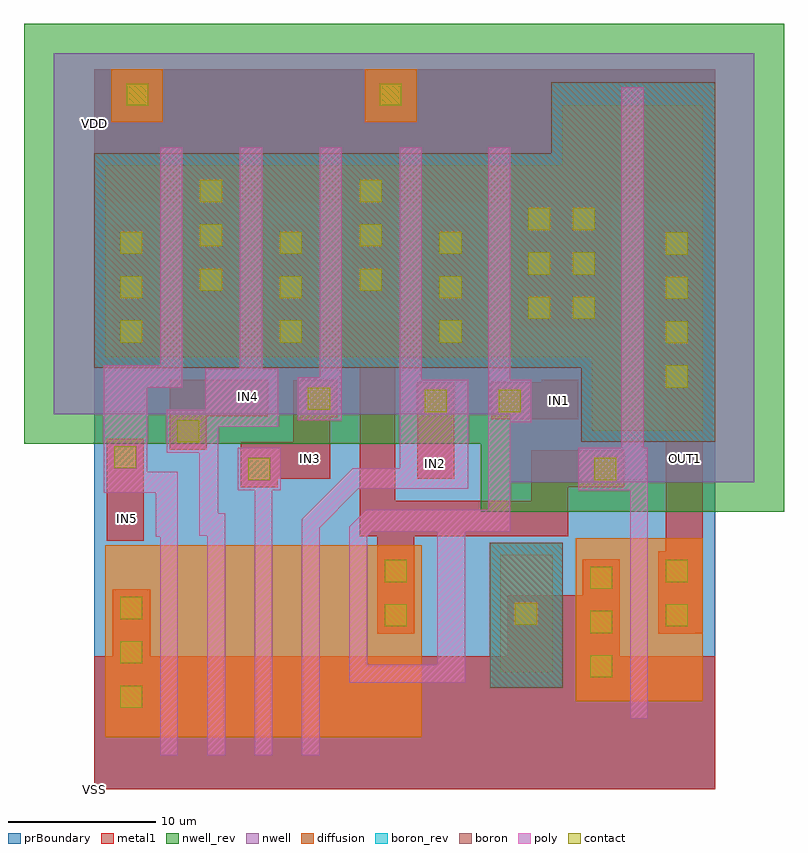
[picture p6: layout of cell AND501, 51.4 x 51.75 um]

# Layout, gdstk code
import gdstk
lib = gdstk.Library(unit=1e-6, precision=1e-09)
def R(c, l, rs):  # rectangles x0, y0, x1, y1
    for r in rs: c.add(gdstk.rectangle(r[:2], r[2:], *l))
def A(c, l, x, y, w, h, nx, ny, dx, dy):  # array of equal rectangles
    R(c, l, [(x+i*dx, y+j*dy, x+i*dx+w, y+j*dy+h) for i in range(nx) for j in range(ny)])
def P(c, l, *ps):  # polygons
    for p in ps: c.add(gdstk.Polygon(p, *l))
nwell = (1, 0)
diffusion = (2, 0)
nwell_rev = (3, 0)
poly = (4, 0)
boron = (5, 0)
boron_rev = (6, 0)
contact = (7, 0)
metal1 = (8, 0)
prBoundary = (28, 0)

and501 = lib.new_cell('AND501')
P(and501, nwell, [(28.15,20.75),(28.15,25.35),(-2.75,25.35),(-2.75,49.75),(44.65,49.75),(44.65,20.75)])
R(and501, diffusion, [(0.75,3.5,22.15,16.5), (32.55,5.95,41.15,16.95), (27.45,7.9,31,15.85), (1.15,45.1,4.65,48.7), (18.3,45.1,21.8,48.7)])
P(and501, diffusion, [(33.65,24.25),(33.65,29.2),(0.75,29.2),(0.75,42.2),(31.65,42.2),(31.65,46.25),(41.15,46.25),(41.15,24.25)])
P(and501, nwell_rev, [(26.15,18.75),(26.15,23.35),(-4.75,23.35),(-4.75,51.75),(46.65,51.75),(46.65,18.75)])
P(and501, poly, [(14.05,2.3),(14.05,18.25),(17.5,21.7),(20.65,21.7),(20.65,43.4),(22.15,43.4),(22.15,27.7),(25.3,27.7),(25.3,20.3),(17.868,20.3),(15.25,17.682),(15.25,2.3)],
  [(17.25,7.2),(17.25,17.75),(18.4,18.9),(23.2,18.9),(23.2,17.4),(18.748,17.4),(18.45,17.102),(18.45,8.4),(23.2,8.4),(23.2,18.9),(26.65,18.9),(26.65,43.4),(28.15,43.4),(28.15,27.7),(29.55,27.7),(29.55,24.8),(28.15,24.8),(28.15,17.4),(25.1,17.4),(25.1,7.2)],
  [(4.45,2.3),(4.45,17.05),(4.15,17.05),(4.15,20.05),(0.65,20.05),(0.65,28.65),(4.45,28.65),(4.45,43.4),(5.95,43.4),(5.95,27.15),(3.6,27.15),(3.6,21.45),(5.65,21.45),(5.65,2.3)],
  [(7.65,2.3),(7.65,17.15),(7.1,17.15),(7.1,22.75),(4.9,22.75),(4.9,25.65),(7.5,25.65),(7.5,28.45),(9.85,28.45),(9.85,43.4),(11.35,43.4),(11.35,28.45),(12.45,28.45),(12.45,24.5),(8.4,24.5),(8.4,18.65),(8.85,18.65),(8.85,2.3)],
  [(10.85,2.3),(10.85,20.2),(9.7,20.2),(9.7,23.1),(12.6,23.1),(12.6,20.2),(12.05,20.2),(12.05,2.3)],
  [(13.75,24.95),(13.75,27.85),(15.25,27.85),(15.25,43.4),(16.75,43.4),(16.75,24.95)],
  [(36.25,4.75),(36.25,20.2),(32.75,20.2),(32.75,23.1),(35.65,23.1),(35.65,47.45),(37.15,47.45),(37.15,23.1),(37.45,23.1),(37.45,4.75)])
R(and501, boron, [(26.75,6.85,31.7,16.65)])
P(and501, boron, [(32.95,23.5),(32.95,28.5),(0,28.5),(0,43),(30.9,43),(30.9,47.8),(42,47.8),(42,23.5)])
R(and501, boron_rev, [(26.75,6.85,31.7,16.65)])
P(and501, boron_rev, [(32.95,23.5),(32.95,28.5),(0,28.5),(0,43),(30.9,43),(30.9,47.8),(42,47.8),(42,23.5)])
A(and501, contact, 1.75, 5.5, 1.5, 1.5, 1, 3, 0, 3)
A(and501, contact, 33.55, 7.55, 1.5, 1.5, 1, 3, 0, 3)
A(and501, contact, 38.65, 27.15, 1.5, 1.5, 1, 4, 0, 3)
A(and501, contact, 1.75, 30.2, 1.5, 1.5, 3, 3, 10.8, 3)
A(and501, contact, 29.35, 31.8, 1.5, 1.5, 1, 3, 0, 3)
A(and501, contact, 32.35, 31.8, 1.5, 1.5, 1, 3, 0, 3)
A(and501, contact, 7.15, 33.7, 1.5, 1.5, 1, 3, 0, 3)
A(and501, contact, 17.95, 33.7, 1.5, 1.5, 1, 3, 0, 3)
R(and501, contact, [(19.65,11,21.15,12.5), (38.65,11,40.15,12.5), (28.45,11.1,29.95,12.6), (19.65,14,21.15,15.5), (38.65,14,40.15,15.5), (10.4,20.9,11.9,22.4), (33.8,20.9,35.3,22.4), (1.35,21.7,2.85,23.2), (5.6,23.45,7.1,24.95), (22.35,25.5,23.85,27), (27.35,25.5,28.85,27), (14.45,25.65,15.95,27.15), (2.15,46.2,3.65,47.7), (19.3,46.2,20.8,47.7)])
R(and501, metal1, [(0,0,42,9), (0.85,16.8,3.35,23.7), (21.85,21,24.35,27.5), (38.65,21,41.15,23.5), (0,39.7,42,48.7)])
P(and501, metal1, [(28.85,31.25),(28.85,39.7),(19.95,39.7),(19.95,33.15),(17.45,33.15),(17.45,39.7),(9.15,39.7),(9.15,33.2),(6.65,33.2),(6.65,39.7),(0,39.7),(0,48.7),(42,48.7),(42,39.7),(34.95,39.7),(34.95,31.25)],
  [(5.1,22.95),(5.1,27.7),(11.75,27.7),(11.75,25.2),(7.6,25.2),(7.6,22.95)],
  [(9.9,20.4),(9.9,23.5),(13.45,23.5),(13.45,27.65),(16.45,27.65),(16.45,25.15),(15.95,25.15),(15.95,21),(12.4,21),(12.4,20.4)],
  [(26.85,25),(26.85,27.5),(30.25,27.5),(30.25,27.7),(32.75,27.7),(32.75,25)],
  [(19.15,10.5),(19.15,17.1),(17.95,17.1),(17.95,29.25),(1.25,29.25),(1.25,38.2),(3.75,38.2),(3.75,31.65),(12.05,31.65),(12.05,38.2),(14.55,38.2),(14.55,31.65),(22.85,31.65),(22.85,38.2),(25.35,38.2),(25.35,29.15),(20.35,29.15),(20.35,19.5),(29.55,19.5),(29.55,22.9),(35.85,22.9),(35.85,20.4),(32.05,20.4),(32.05,17.1),(21.65,17.1),(21.65,10.5)],
  [(38.15,10.5),(38.15,16.1),(38.65,16.1),(38.65,26.65),(38.15,26.65),(38.15,38.15),(41.15,38.15),(41.15,10.55),(40.65,10.55),(40.65,10.5)],
  [(0,0),(0,9),(1.25,9),(1.25,13.5),(3.8,13.5),(3.8,9),(27.95,9),(27.95,13.1),(33.05,13.1),(33.05,15.55),(35.55,15.55),(35.55,9),(42,9),(42,0)])
R(and501, prBoundary, [(0,0,42,48.7)])
and501.add(gdstk.Label('VSS', (0.001,0.001), layer=8, texttype=7))
and501.add(gdstk.Label('VDD', (0.002,45), layer=8, texttype=7))
and501.add(gdstk.Label('IN1', (31.5,26.3), layer=8, texttype=7))
and501.add(gdstk.Label('IN5', (2.25,18.3), layer=8, texttype=7))
and501.add(gdstk.Label('IN4', (10.4,26.55), layer=8, texttype=7))
and501.add(gdstk.Label('IN3', (14.65,22.35), layer=8, texttype=7))
and501.add(gdstk.Label('IN2', (23.05,22.05), layer=8, texttype=7))
and501.add(gdstk.Label('OUT1', (40,22.35), layer=8, texttype=7))

lib.write_gds('AND501.gds')
